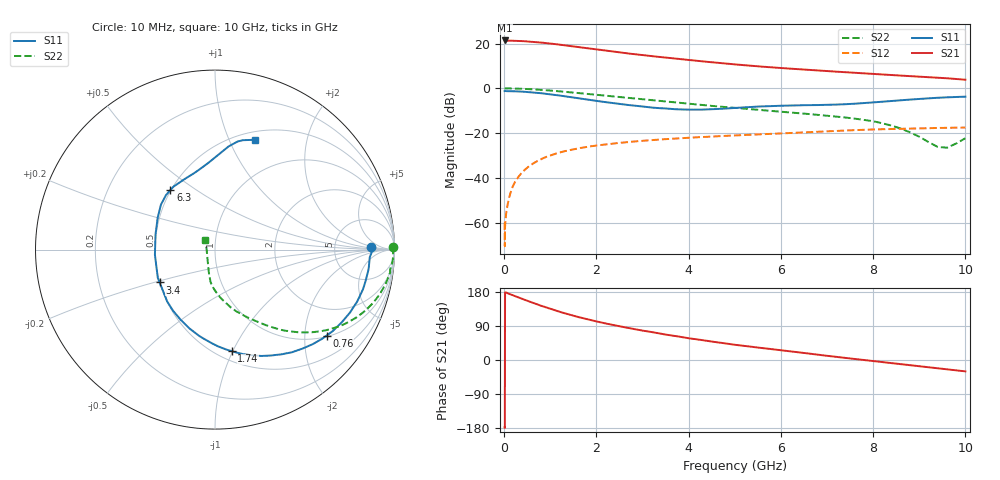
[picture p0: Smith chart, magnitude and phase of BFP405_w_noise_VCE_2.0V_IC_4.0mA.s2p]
! Infineon Technologies  Discrete & RF Semiconductors
! BFP405
! VCE =  2.0 V,  IC =  4.0 mA
! Common Emitter S-Parameters:  Jan 2016
# GHz  S  MA  R  50
!  f  S11  S21  S12  S22
! GHz  MAG  ANG  MAG  ANG  MAG  ANG  MAG  ANG
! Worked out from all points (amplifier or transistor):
!   233 points, 10 MHz to 10 GHz, reference 50 ohm
!   highest |S21| = 21.4 dB at 10 MHz (marker M1)
!   |S21| within 3 dB of that: start of sweep to 1.624 GHz
!   unconditionally stable (mu >= 1): 13.77 MHz to 16.07 MHz; 3.623 GHz to end of sweep
!   at 200 MHz: K = 0.07, MSG = 32.2 dB, |S12| = -43.2 dB
!   at 1.74 GHz: K = 0.49, MSG = 22.2 dB, |S12| = -26.3 dB
!   at 10 GHz: K = 1.51, MAG = 6.5 dB, |S12| = -17.5 dB
!   lowest NFmin = 1.10 dB at 900 MHz
!   S11 on the Smith chart (normalised r, x): 10 MHz: 14, +1; 760 MHz: 1.03, -2.57; 1.74 GHz: 0.59, -0.99; 3.4 GHz: 0.50, -0.21; 6.3 GHz: 0.50, +0.40; 10 GHz: 0.59, +1.25
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0.01  0.8675 0.8  11.69 -177.6  0.001 -62.2  0.9924 0.8
0.015  0.87 -0.2  11.64 -179.5  0.0003 -9.1  0.9914 0.3
0.02  0.8728 -1.1  11.6 178.5  0.0008 81.4  0.9905 -0.2
0.08  0.8631 -4.1  11.57 176.0  0.0027 89.9  0.9929 -1.8
0.24  0.8567 -12.1  11.53 168.4  0.0083 84.1  0.9834 -6.0
0.48  0.832 -24.0  11.18 157.3  0.0163 78.2  0.9667 -11.9
0.76  0.7849 -37.6  10.58 145.0  0.025 71.5  0.9302 -18.4
0.9  0.7574 -44.1  10.25 139.0  0.0291 68.5  0.9083 -21.5
1.14  0.7042 -55.0  9.597 129.6  0.0354 63.5  0.8674 -26.3
1.4  0.6462 -66.5  8.875 120.2  0.0415 58.8  0.8211 -31.0
1.68  0.586 -78.2  8.128 111.1  0.0471 54.3  0.7713 -35.4
1.74  0.5735 -80.7  7.97 109.3  0.0483 53.4  0.7611 -36.3
2.42  0.4586 -108.7  6.47 90.9  0.0594 45.0  0.6538 -44.8
2.96  0.3966 -130.9  5.57 78.5  0.0669 39.7  0.5788 -50.6
3.4  0.3587 -149.3  4.97 69.4  0.0722 35.8  0.5219 -54.8
4  0.336 -175.1  4.29 57.4  0.0789 31.0  0.4532 -60.9
5.1  0.3698 148.6  3.35 38.8  0.0897 23.2  0.3582 -71.6
6.3  0.4143 126.8  2.705 21.5  0.1017 16.1  0.284 -81.3
6.8  0.4231 117.4  2.503 14.2  0.1073 12.9  0.2557 -85.5
8.4  0.5225 88.9  1.976 -8.2  0.1237 0.6  0.147 -102.5
9.4  0.6152 78.2  1.73 -21.8  0.1303 -6.8  0.0492 -154.4
10  0.6512 70.0  1.555 -30.0  0.1333 -10.6  0.0771 134.4
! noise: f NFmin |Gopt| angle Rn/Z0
0.9  1.1  0.42  13  0.34
1.8  1.39  0.33  21  0.32
2.4  1.55  0.28  31  0.32
3  1.58  0.26  47  0.29
4  1.76  0.14  70  0.25
5  2.11  0.09  124  0.22
